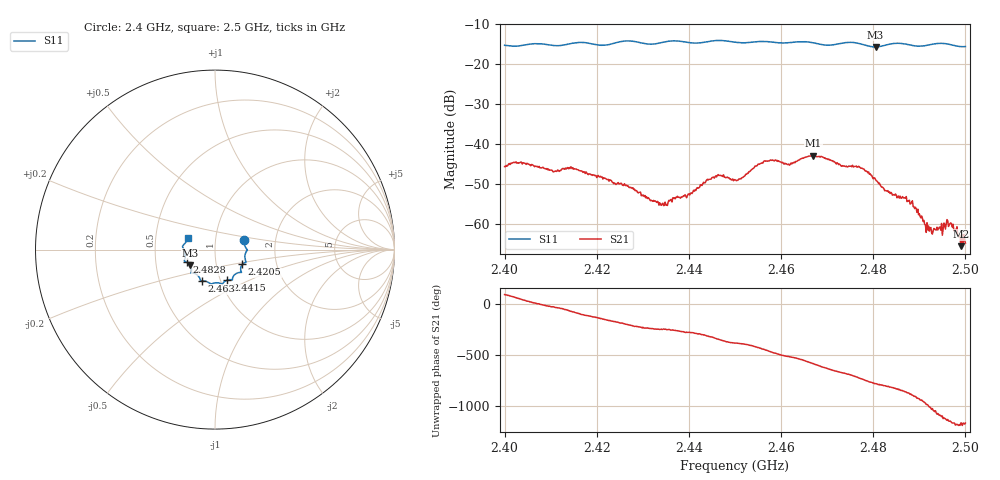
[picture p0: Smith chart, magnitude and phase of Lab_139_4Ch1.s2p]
# Hz S RI R 50
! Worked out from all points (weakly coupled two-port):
!   601 points, 2.4 GHz to 2.5 GHz, reference 50 ohm
!   highest |S21| = -42.81 dB at 2.467 GHz (marker M1); lowest = -65.4 dB at 2.499 GHz (marker M2)
!   lowest |S11| = -15.7 dB at 2.4805 GHz (marker M3), VSWR 1.39, Z = 37.3 - j6.68 ohm
!   |S11| at or under -10 dB: start of sweep to end of sweep
!   S12 and S22 are empty: the file has one direction only
!   S11 on the Smith chart (normalised r, x): 2.4 GHz: 1.38, +0.15; 2.4205 GHz: 1.34, -0.23; 2.4415 GHz: 1.07, -0.38; 2.463 GHz: 0.82, -0.29; 2.4828 GHz: 0.72, -0.10; 2.5 GHz: 0.73, +0.10
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2.4e9  0.1637 0.0519  -0.000174 0.00527  0 0  0 0
2.403667e9  0.17 0.0125  0.00428 0.00416  0 0  0 0
2.416667e9  0.173 -0.0701  -0.00102 -0.00455  0 0  0 0
2.4205e9  0.1521 -0.0818  -0.00305 -0.0025  0 0  0 0
2.433333e9  0.1005 -0.1515  -0.000758 0.00174  0 0  0 0
2.435e9  0.0972 -0.1638  -0.000706 0.0016  0 0  0 0
2.4415e9  0.0656 -0.1707  0.000718 0.00255  0 0  0 0
2.446333e9  0.0408 -0.193  0.00403 0.00116  0 0  0 0
2.45e9  0.0243 -0.1862  0.00336 -0.00137  0 0  0 0
2.456667e9  -0.0246 -0.1899  -2.85e-05 -0.00614  0 0  0 0
2.463e9  -0.0721 -0.1738  -0.0057 -0.00151  0 0  0 0
2.466667e9  -0.0821 -0.1669  -0.00574 0.00439  0 0  0 0
2.467e9  -0.0827 -0.1648  -0.00536 0.00486  0 0  0 0
2.477333e9  -0.1315 -0.1202  0.00494 -0.000881  0 0  0 0
2.4805e9  -0.1389 -0.0871  0.00194 -0.00306  0 0  0 0
2.482833e9  -0.1586 -0.0699  0.00034 -0.00261  0 0  0 0
2.483333e9  -0.1624 -0.0681  0.000262 -0.00251  0 0  0 0
2.488e9  -0.1669 -0.0466  -0.00171 -0.000556  0 0  0 0
2.492333e9  -0.175 0.00426  0.000279 0.000865  0 0  0 0
2.4965e9  -0.1744 0.0268  0.00042 -0.000891  0 0  0 0
2.499e9  -0.1574 0.0507  7.46e-05 -0.000531  0 0  0 0
2.5e9  -0.1526 0.0644  7.73e-05 -0.000581  0 0  0 0
